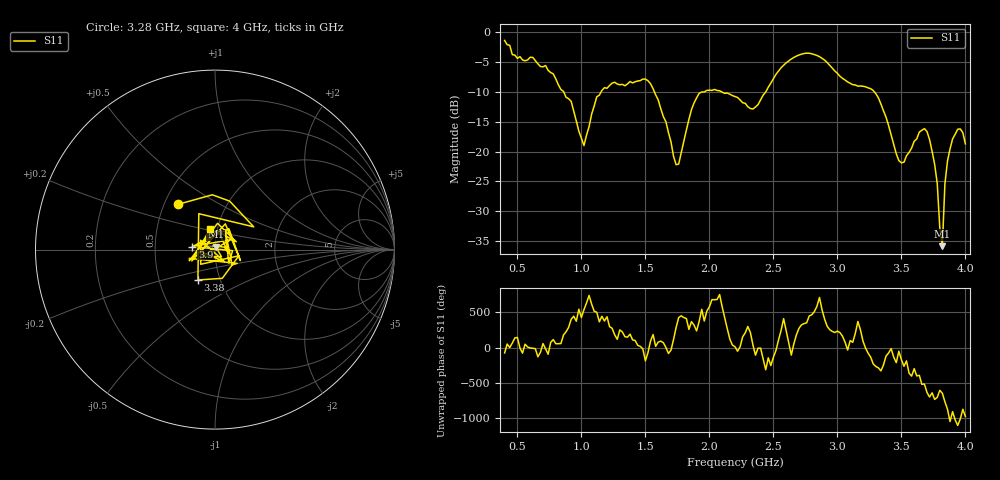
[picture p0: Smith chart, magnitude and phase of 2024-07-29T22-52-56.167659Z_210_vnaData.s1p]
!Created with skrf (http://scikit-rf.org).
# Hz S RI R 50.0
!freq ReS11 ImS11
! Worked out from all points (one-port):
!   181 points, 400 MHz to 4 GHz, reference 50 ohm
!   lowest |S11| = -35.8 dB at 3.82 GHz (marker M1), VSWR 1.03, Z = 50.4 + j1.56 ohm
!   |S11| at or under -10 dB: 1.57 GHz to 1.961 GHz (391.1 MHz wide, 22.1 % of centre); 2.096 GHz to 2.441 GHz (345.2 MHz wide, 15.2 % of centre); 3.289 GHz to end of sweep (the widest 3 of 4)
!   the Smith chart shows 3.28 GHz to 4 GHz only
!   S11 on the Smith chart (normalised r, x): 3.28 GHz: 0.59, +0.33; 3.38 GHz: 0.78, -0.28; 3.9 GHz: 0.77, +0.03; 4 GHz: 0.92, +0.21
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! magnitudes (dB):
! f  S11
! 400 MHz  -1.4
! 720 MHz  -5.6
! 860 MHz  -9.9
! 920 MHz  -11.6
! 1.02 GHz  -19.0
! 1.12 GHz  -10.8
! 1.3 GHz  -8.8
! 1.54 GHz  -8.6
! 1.76 GHz  -22.1
! 1.86 GHz  -13.0
! 1.92 GHz  -10.2
! 2.2 GHz  -10.8
! 2.34 GHz  -12.9
! 2.66 GHz  -4.2
! 2.84 GHz  -3.9
! 3.1 GHz  -8.6
! 3.28 GHz  -9.8
! 3.38 GHz  -14.2
! 3.48 GHz  -21.5
! 3.56 GHz  -20.1
! 3.7 GHz  -16.6
! 3.78 GHz  -25.3
! 3.8 GHz  -32.7
! 3.82 GHz  -35.8
! 3.84 GHz  -25.4
! 3.9 GHz  -17.9
! 3.96 GHz  -16.2
! 4 GHz  -18.7
